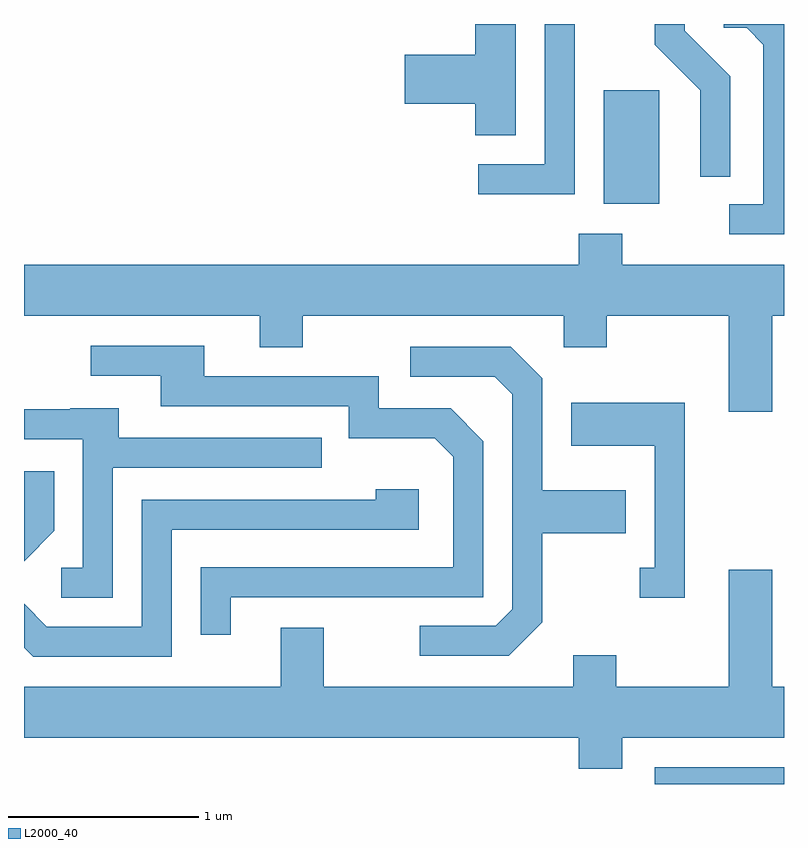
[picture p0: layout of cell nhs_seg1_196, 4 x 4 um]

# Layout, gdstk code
import gdstk
lib = gdstk.Library(unit=1e-6, precision=1e-09)
def R(c, l, rs):  # rectangles x0, y0, x1, y1
    for r in rs: c.add(gdstk.rectangle(r[:2], r[2:], *l))
def P(c, l, *ps):  # polygons
    for p in ps: c.add(gdstk.Polygon(p, *l))
L2000_40 = (2000, 40)

nhs_seg1_196 = lib.new_cell('nhs_seg1_196')
R(nhs_seg1_196, L2000_40, [(192.931,963.712,193.611,963.799), (192.661,966.766,192.954,967.364)])
P(nhs_seg1_196, L2000_40, [(192.199,967.712),(191.986,967.712),(191.986,967.549),(191.616,967.549),(191.616,967.291),(191.986,967.291),(191.986,967.126),(192.199,967.126)],
  [(193.611,967.712),(193.293,967.712),(193.293,967.691),(193.414,967.691),(193.501,967.604),(193.501,966.764),(193.323,966.764),(193.323,966.606),(193.611,966.606)],
  [(193.329,967.437),(193.089,967.677),(193.089,967.712),(192.931,967.712),(192.931,967.604),(193.171,967.364),(193.171,966.908),(193.329,966.908)],
  [(192.509,967.712),(192.351,967.712),(192.351,966.974),(192.003,966.974),(192.003,966.816),(192.509,966.816)],
  [(193.549,966.176),(193.611,966.176),(193.611,966.444),(192.759,966.444),(192.759,966.609),(192.531,966.609),(192.531,966.444),(189.611,966.444),(189.611,966.176),(190.851,966.176),(190.851,966.011),(191.079,966.011),(191.079,966.176),(192.451,966.176),(192.451,966.011),(192.679,966.011),(192.679,966.176),(193.321,966.176),(193.321,965.671),(193.549,965.671)],
  [(190.699,964.696),(192.029,964.696),(192.029,965.517),(191.857,965.689),(191.479,965.689),(191.479,965.859),(190.559,965.859),(190.559,966.019),(189.963,966.019),(189.963,965.861),(190.331,965.861),(190.331,965.701),(191.321,965.701),(191.321,965.531),(191.774,965.531),(191.871,965.434),(191.871,964.854),(190.541,964.854),(190.541,964.498),(190.699,964.498)],
  [(192.339,964.564),(192.339,965.031),(192.779,965.031),(192.779,965.259),(192.339,965.259),(192.339,965.847),(192.172,966.014),(191.643,966.014),(191.643,965.856),(192.089,965.856),(192.181,965.764),(192.181,964.632),(192.094,964.544),(191.693,964.544),(191.693,964.386),(192.162,964.386)],
  [(193.089,965.719),(192.491,965.719),(192.491,965.491),(192.931,965.491),(192.931,964.849),(192.853,964.849),(192.853,964.691),(193.089,964.691)],
  [(190.079,965.376),(191.178,965.376),(191.178,965.534),(190.109,965.534),(190.109,965.689),(189.855,965.689),(189.855,965.684),(189.611,965.684),(189.611,965.526),(189.921,965.526),(189.921,964.849),(189.808,964.849),(189.808,964.691),(190.079,964.691)],
  [(189.769,965.044),(189.769,965.358),(189.611,965.358),(189.611,964.885)],
  [(190.389,965.051),(191.689,965.051),(191.689,965.264),(191.461,965.264),(191.461,965.209),(190.231,965.209),(190.231,964.539),(189.732,964.539),(189.611,964.66),(189.611,964.429),(189.659,964.381),(190.389,964.381)],
  [(192.759,963.956),(193.611,963.956),(193.611,964.224),(193.549,964.224),(193.549,964.839),(193.321,964.839),(193.321,964.224),(192.729,964.224),(192.729,964.389),(192.501,964.389),(192.501,964.224),(191.189,964.224),(191.189,964.534),(190.961,964.534),(190.961,964.224),(189.611,964.224),(189.611,963.956),(192.531,963.956),(192.531,963.791),(192.759,963.791)])

lib.write_gds('nhs_seg1_196.gds')
